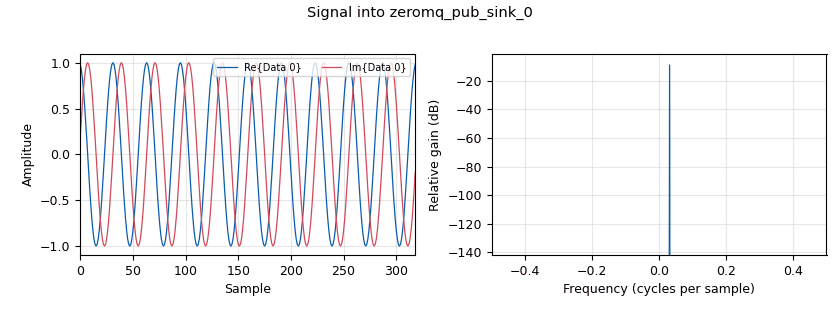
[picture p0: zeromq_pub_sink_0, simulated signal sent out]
options:
  parameters:
    generate_options: qt_gui
    id: taggeando
    output_language: python
    title: prueba_tags
  states: {}

blocks:
- name: samp_rate
  id: variable
  parameters:
    value: '32000'
  states: {}
- name: analog_sig_source_x_0
  id: analog_sig_source_x
  parameters:
    amp: '1'
    freq: '1000'
    offset: '0'
    phase: '0'
    samp_rate: samp_rate
    type: complex
    waveform: analog.GR_COS_WAVE
  states: {}
- name: blocks_tag_gate_0
  id: blocks_tag_gate
  parameters:
    propagate_tags: 'False'
    type: complex
  states: {state: disabled}
- name: epy_block_0
  id: epy_block
  parameters:
    _source_code: |
      """
      Embedded Python Blocks:

      Each time this file is saved, GRC will instantiate the first class it finds
      to get ports and parameters of your block. The arguments to __init__  will
      be the parameters. All of them are required to have default values!
      """

      import numpy as np
      from gnuradio import gr
      import pmt

      class blk(gr.sync_block):  # other base classes are basic_block, decim_block, interp_block
          """Embedded Python Block example - a simple multiply const"""

          def __init__(self, example_param=1.0):  # only default arguments here
              """arguments to this function show up as parameters in GRC"""
              gr.sync_block.__init__(
                  self,
                  name='Embedded Python Block',   # will show up in GRC
                  in_sig=[np.complex64],
                  out_sig=[np.complex64]
              )
              # if an attribute with the same name as a parameter is found,
              # a callback is registered (properties work, too).
              self.example_param = example_param
              self.contador = 0
              self.inicio = 41
              self.final = 99

          def work(self, input_items, output_items):
              """example: multiply with constant"""
              for i in range(0, len(input_items[0])):
              	self.contador = self.contador + 1
              	if self.inicio <= i and i <= self.final:
              		#tag_value = 42 
              		value = pmt.intern("42")
              		tag_offset = i
              		key = pmt.intern("sensando")
              		#tag_key =  "sensando"
              		self.add_item_tag(0, # Write to output port 0
                                tag_offset, # Index of the tag in absolute terms
                                key, # Key of the tag
                                value) # Value of the tag 
              	if self.contador == 1356:
              		self.contador = 0
              output_items[0][:] = input_items[0]
              return len(output_items[0])
    example_param: '1.0'
  states: {}
- name: zeromq_pub_sink_0
  id: zeromq_pub_sink
  parameters:
    address: tcp://127.0.0.1:5555
    pass_tags: 'True'
    timeout: '100'
    type: complex
  states: {}

connections:
- [analog_sig_source_x_0, '0', epy_block_0, '0']
- [epy_block_0, '0', zeromq_pub_sink_0, '0']

metadata:
  file_format: 1
